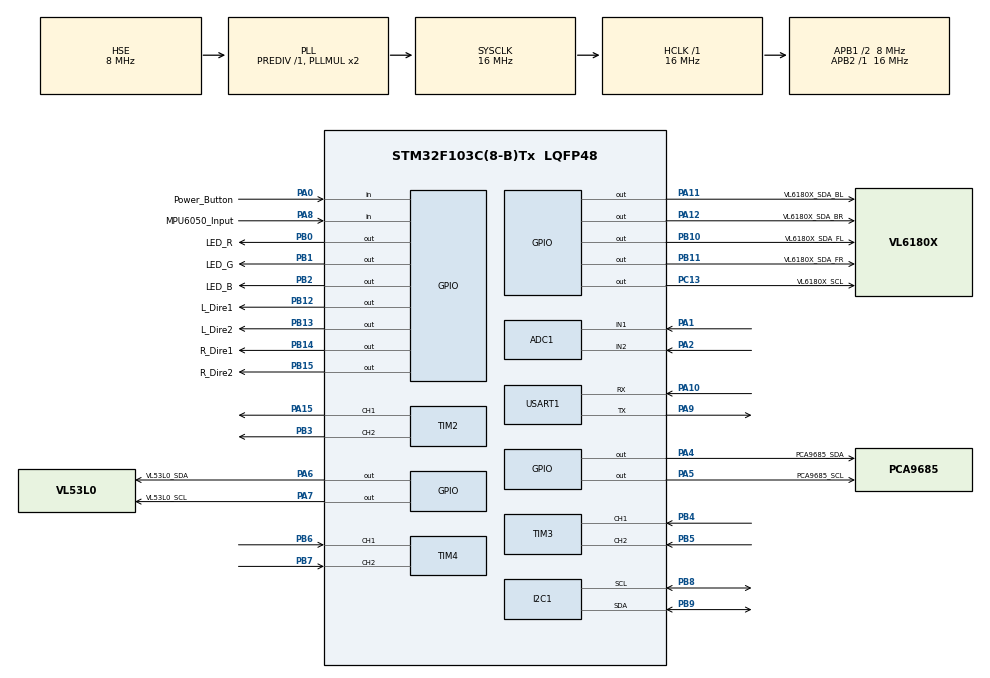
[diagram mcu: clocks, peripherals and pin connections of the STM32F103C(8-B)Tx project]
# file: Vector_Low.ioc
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ADC1.Channel-0\#ChannelRegularConversion=ADC_CHANNEL_1
ADC1.NbrOfConversionFlag=1
ADC1.Rank-0\#ChannelRegularConversion=1
ADC1.SamplingTime-0\#ChannelRegularConversion=ADC_SAMPLETIME_1CYCLE_5
ADC1.master=1
FREERTOS.BinarySemaphores01=BinarySemUpdate,Dynamic,NULL
FREERTOS.Queues01=QueueLeftWheelSpeed,3,uint32_t,0,Dynamic,NULL,NULL;QueueRightWheelSpeed,3,uint32_t,0,Dynamic,NULL,NULL;QueueLeftEncoder,3,uint32_t,0,Dynamic,NULL,NULL;QueueRightEncoder,3,uint32_t,0,Dynamic,NULL,NULL;QueueMPU6050,3,uint32_t,0,Dynamic,NULL,NULL;QueueVL53L0,3,uint32_t,0,Dynamic,NULL,NULL;QueueVL6180X,3,uint32_t,0,Dynamic,NULL,NULL;QueueTouch,3,uint32_t,0,Dynamic,NULL,NULL;QueueGoHome,3,uint32_t,0,Dynamic,NULL,NULL;QueueLeftWheelDire,3,uint32_t,0,Dynamic,NULL,NULL;QueueRightWheelDire,3,uint32_t,0,Dynamic,NULL,NULL;QueuePowerButton,3,uint32_t,0,Dynamic,NULL,NULL;QueueRgbLed,3,uint32_t,0,Dynamic,NULL,NULL
FREERTOS.Tasks01=defaultTask,24,64,StartDefaultTask,Default,NULL,Dynamic,NULL,NULL;TaskLeftWheelSpeed,32,64,StartTaskLeftWheelSpeed,Default,NULL,Dynamic,NULL,NULL;TaskRightWheelSpeed,24,64,StartTaskRightWheelSpeed,Default,NULL,Dynamic,NULL,NULL;TaskLeftEncoder,16,64,StartTaskLeftEncoder,Default,NULL,Dynamic,NULL,NULL;TaskRightEncoder,16,64,StartTaskRightEncoder,Default,NULL,Dynamic,NULL,NULL;TaskMPU6050,16,64,StartTaskMPU6050,Default,NULL,Dynamic,NULL,NULL;TaskVL53L0,24,64,StartTaskVL53L0,Default,NULL,Dynamic,NULL,NULL;TaskVL6180X,24,64,StartTaskVL6180X,Default,NULL,Dynamic,NULL,NULL;TaskTouch,16,64,StartTaskTouch,Default,NULL,Dynamic,NULL,NULL;TaskGoHome,16,64,StartTaskGoHome,Default,NULL,Dynamic,NULL,NULL;TaskUpdate,40,64,StartTaskUpdate,Default,NULL,Dynamic,NULL,NULL;TaskUsartDate,32,64,StartTaskUsartDate,Default,NULL,Dynamic,NULL,NULL;TaskLeftWheelDire,16,64,StartTaskLeftWheelDire,Default,NULL,Dynamic,NULL,NULL;TaskRightWheelDire,16,64,StartTaskRightWheelDire,Default,NULL,Dynamic,NULL,NULL;TaskPowerButton,16,64,StartTaskPowerButton,Default,NULL,Dynamic,NULL,NULL;TaskRgbLed,16,64,StartTaskRgbLed,Default,NULL,Dynamic,NULL,NULL
FREERTOS.configMAX_TASK_NAME_LEN=24
FREERTOS.configMINIMAL_STACK_SIZE=64
FREERTOS.configTOTAL_HEAP_SIZE=10240
Mcu.Family=STM32F1
Mcu.Name=STM32F103C(8-B)Tx
Mcu.Package=LQFP48
NVIC.PriorityGroup=NVIC_PRIORITYGROUP_4
NVIC.TIM1_UP_IRQn=true\:0\:0\:false\:false\:true\:false\:false\:true
NVIC.TimeBase=TIM1_UP_IRQn
NVIC.TimeBaseIP=TIM1
PA0-WKUP.GPIO_Label=Power_Button
PA0-WKUP.Signal=GPIO_Input
PA1.Signal=ADCx_IN1
PA10.Mode=Asynchronous
PA10.Signal=USART1_RX
PA11.GPIO_Label=VL6180X_SDA_BL
PA11.Signal=GPIO_Output
PA12.GPIO_Label=VL6180X_SDA_BR
PA12.Signal=GPIO_Output
PA13.Mode=Serial_Wire
PA13.Signal=SYS_JTMS-SWDIO
PA14.Mode=Serial_Wire
PA14.Signal=SYS_JTCK-SWCLK
PA15.Signal=S_TIM2_CH1_ETR
PA2.Signal=ADCx_IN2
PA4.GPIO_Label=PCA9685_SDA
PA4.Signal=GPIO_Output
PA5.GPIO_Label=PCA9685_SCL
PA5.Signal=GPIO_Output
PA6.GPIO_Label=VL53L0_SDA
PA6.Signal=GPIO_Output
PA7.GPIO_Label=VL53L0_SCL
PA7.Signal=GPIO_Output
PA8.GPIO_Label=MPU6050_Input
PA8.Signal=GPIO_Input
PA9.Mode=Asynchronous
PA9.Signal=USART1_TX
PB0.GPIO_Label=LED_R
PB0.Signal=GPIO_Output
PB1.GPIO_Label=LED_G
PB1.Signal=GPIO_Output
PB10.GPIO_Label=VL6180X_SDA_FL
PB10.Signal=GPIO_Output
PB11.GPIO_Label=VL6180X_SDA_FR
PB11.Signal=GPIO_Output
PB12.GPIO_Label=L_Dire1
PB12.Signal=GPIO_Output
PB13.GPIO_Label=L_Dire2
PB13.Signal=GPIO_Output
PB14.GPIO_Label=R_Dire1
PB14.Signal=GPIO_Output
PB15.GPIO_Label=R_Dire2
PB15.Signal=GPIO_Output
PB2.GPIO_Label=LED_B
PB2.Signal=GPIO_Output
PB3.Signal=S_TIM2_CH2
PB4.Signal=S_TIM3_CH1
PB5.Signal=S_TIM3_CH2
PB6.Signal=S_TIM4_CH1
PB7.Signal=S_TIM4_CH2
PB8.Mode=I2C
PB8.Signal=I2C1_SCL
PB9.Mode=I2C
PB9.Signal=I2C1_SDA
PC13-TAMPER-RTC.GPIO_Label=VL6180X_SCL
PC13-TAMPER-RTC.Signal=GPIO_Output
PC14-OSC32_IN.Mode=LSE-External-Oscillator
PC14-OSC32_IN.Signal=RCC_OSC32_IN
PC15-OSC32_OUT.Mode=LSE-External-Oscillator
PC15-OSC32_OUT.Signal=RCC_OSC32_OUT
PD0-OSC_IN.Mode=HSE-External-Oscillator
PD0-OSC_IN.Signal=RCC_OSC_IN
PD1-OSC_OUT.Mode=HSE-External-Oscillator
PD1-OSC_OUT.Signal=RCC_OSC_OUT
ProjectManager.HeapSize=0x200
ProjectManager.StackSize=0x400
ProjectManager.TargetToolchain=STM32CubeIDE
RCC.AHBFreq_Value=16000000
RCC.APB1CLKDivider=RCC_HCLK_DIV2
RCC.APB1Freq_Value=8000000
RCC.APB1TimFreq_Value=16000000
RCC.APB2Freq_Value=16000000
RCC.APB2TimFreq_Value=16000000
RCC.EnbaleCSS=true
RCC.HCLKFreq_Value=16000000
RCC.PLLSourceVirtual=RCC_PLLSOURCE_HSE
RCC.SYSCLKFreq_VALUE=16000000
RCC.SYSCLKSource=RCC_SYSCLKSOURCE_PLLCLK
RCC.USBFreq_Value=16000000
SH.ADCx_IN1.0=ADC1_IN1,IN1
SH.ADCx_IN2.0=ADC1_IN2,IN2
SH.S_TIM2_CH1_ETR.0=TIM2_CH1,PWM Generation1 CH1
SH.S_TIM2_CH2.0=TIM2_CH2,PWM Generation2 CH2
SH.S_TIM3_CH1.0=TIM3_CH1,Encoder_Interface
SH.S_TIM3_CH2.0=TIM3_CH2,Encoder_Interface
SH.S_TIM4_CH1.0=TIM4_CH1,Encoder_Interface
SH.S_TIM4_CH2.0=TIM4_CH2,Encoder_Interface
TIM2.Channel-PWM\ Generation1\ CH1=TIM_CHANNEL_1
TIM2.Channel-PWM\ Generation2\ CH2=TIM_CHANNEL_2
USART1.VirtualMode=VM_ASYNC
VP_CRC_VS_CRC.Mode=CRC_Activate
VP_FREERTOS_VS_CMSIS_V2.Mode=CMSIS_V2
VP_SYS_VS_tim1.Mode=TIM1
VP_TIM2_VS_ClockSourceINT.Mode=Internal
board=custom

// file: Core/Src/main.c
/* USER CODE BEGIN Header */
/**
  ******************************************************************************
  * @file           : main.c
  * @brief          : Main program body
  ******************************************************************************
  * @attention
  *
  * <h2><center>&copy; Copyright (c) 2020 STMicroelectronics.
  * All rights reserved.</center></h2>
  *
  * This software component is licensed by ST under BSD 3-Clause license,
  * the "License"; You may not use this file except in compliance with the
  * License. You may obtain a copy of the License at:
  *                        opensource.org/licenses/BSD-3-Clause
  *
  ******************************************************************************
  */
/* USER CODE END Header */
#include "main.h"
#include "cmsis_os.h"
#include "adc.h"
#include "crc.h"
#include "i2c.h"
#include "tim.h"
#include "usart.h"
#include "gpio.h"

void SystemClock_Config(void);
void MX_FREERTOS_Init(void);

int main(void)
{

  /* MCU Configuration--------------------------------------------------------*/

  /* Reset of all peripherals, Initializes the Flash interface and the Systick. */
  HAL_Init();

  /* Configure the system clock */
  SystemClock_Config();

  /* Initialize all configured peripherals */
  MX_GPIO_Init();
  MX_ADC1_Init();
  MX_CRC_Init();
  MX_I2C1_Init();
  MX_TIM2_Init();
  MX_TIM3_Init();
  MX_TIM4_Init();
  MX_USART1_UART_Init();

  /* Init scheduler */
  osKernelInitialize();  /* Call init function for freertos objects (in freertos.c) */
  MX_FREERTOS_Init();
  /* Start scheduler */
  osKernelStart();

  /* We should never get here as control is now taken by the scheduler */
  /* Infinite loop */
  while (1)
  {

  }
}

void SystemClock_Config(void)
{
  RCC_OscInitTypeDef RCC_OscInitStruct = {0};
  RCC_ClkInitTypeDef RCC_ClkInitStruct = {0};
  RCC_PeriphCLKInitTypeDef PeriphClkInit = {0};

  /** Initializes the RCC Oscillators according to the specified parameters
  * in the RCC_OscInitTypeDef structure.
  */
  RCC_OscInitStruct.OscillatorType = RCC_OSCILLATORTYPE_HSE;
  RCC_OscInitStruct.HSEState = RCC_HSE_ON;
  RCC_OscInitStruct.HSEPredivValue = RCC_HSE_PREDIV_DIV1;
  RCC_OscInitStruct.HSIState = RCC_HSI_ON;
  RCC_OscInitStruct.PLL.PLLState = RCC_PLL_ON;
  RCC_OscInitStruct.PLL.PLLSource = RCC_PLLSOURCE_HSE;
  RCC_OscInitStruct.PLL.PLLMUL = RCC_PLL_MUL2;
  if (HAL_RCC_OscConfig(&RCC_OscInitStruct) != HAL_OK)
  {
    Error_Handler();
  }
  /** Initializes the CPU, AHB and APB buses clocks
  */
  RCC_ClkInitStruct.ClockType = RCC_CLOCKTYPE_HCLK|RCC_CLOCKTYPE_SYSCLK
                              |RCC_CLOCKTYPE_PCLK1|RCC_CLOCKTYPE_PCLK2;
  RCC_ClkInitStruct.SYSCLKSource = RCC_SYSCLKSOURCE_PLLCLK;
  RCC_ClkInitStruct.AHBCLKDivider = RCC_SYSCLK_DIV1;
  RCC_ClkInitStruct.APB1CLKDivider = RCC_HCLK_DIV2;
  RCC_ClkInitStruct.APB2CLKDivider = RCC_HCLK_DIV1;

  if (HAL_RCC_ClockConfig(&RCC_ClkInitStruct, FLASH_LATENCY_0) != HAL_OK)
  {
    Error_Handler();
  }
  PeriphClkInit.PeriphClockSelection = RCC_PERIPHCLK_ADC;
  PeriphClkInit.AdcClockSelection = RCC_ADCPCLK2_DIV2;
  if (HAL_RCCEx_PeriphCLKConfig(&PeriphClkInit) != HAL_OK)
  {
    Error_Handler();
  }
  /** Enables the Clock Security System
  */
  HAL_RCC_EnableCSS();
}

void HAL_TIM_PeriodElapsedCallback(TIM_HandleTypeDef *htim)
{
  if (htim->Instance == TIM1) {
    HAL_IncTick();
  }
}

void Error_Handler(void)
{
}

/************************ (C) COPYRIGHT STMicroelectronics *****END OF FILE****/

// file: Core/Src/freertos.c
/* USER CODE BEGIN Header */
/**
  ******************************************************************************
  * File Name          : freertos.c
  * Description        : Code for freertos applications
  ******************************************************************************
  * @attention
  *
  * <h2><center>&copy; Copyright (c) 2020 STMicroelectronics.
  * All rights reserved.</center></h2>
  *
  * This software component is licensed by ST under Ultimate Liberty license
  * SLA0044, the "License"; You may not use this file except in compliance with
  * the License. You may obtain a copy of the License at:
  *                             www.st.com/SLA0044
  *
  ******************************************************************************
  */
/* USER CODE END Header */

#include "FreeRTOS.h"
#include "task.h"
#include "main.h"
#include "cmsis_os.h"

/* Definitions for defaultTask */
osThreadId_t defaultTaskHandle;
const osThreadAttr_t defaultTask_attributes = {
  .name = "defaultTask",
  .priority = (osPriority_t) osPriorityNormal,
  .stack_size = 64 * 4
};
/* Definitions for TaskLeftWheelSpeed */
osThreadId_t TaskLeftWheelSpeedHandle;
const osThreadAttr_t TaskLeftWheelSpeed_attributes = {
  .name = "TaskLeftWheelSpeed",
  .priority = (osPriority_t) osPriorityAboveNormal,
  .stack_size = 64 * 4
};
/* Definitions for TaskRightWheelSpeed */
osThreadId_t TaskRightWheelSpeedHandle;
const osThreadAttr_t TaskRightWheelSpeed_attributes = {
  .name = "TaskRightWheelSpeed",
  .priority = (osPriority_t) osPriorityNormal,
  .stack_size = 64 * 4
};
/* Definitions for TaskLeftEncoder */
osThreadId_t TaskLeftEncoderHandle;
const osThreadAttr_t TaskLeftEncoder_attributes = {
  .name = "TaskLeftEncoder",
  .priority = (osPriority_t) osPriorityBelowNormal,
  .stack_size = 64 * 4
};
/* Definitions for TaskRightEncoder */
osThreadId_t TaskRightEncoderHandle;
const osThreadAttr_t TaskRightEncoder_attributes = {
  .name = "TaskRightEncoder",
  .priority = (osPriority_t) osPriorityBelowNormal,
  .stack_size = 64 * 4
};
/* Definitions for TaskMPU6050 */
osThreadId_t TaskMPU6050Handle;
const osThreadAttr_t TaskMPU6050_attributes = {
  .name = "TaskMPU6050",
  .priority = (osPriority_t) osPriorityBelowNormal,
  .stack_size = 64 * 4
};
/* Definitions for TaskVL53L0 */
osThreadId_t TaskVL53L0Handle;
const osThreadAttr_t TaskVL53L0_attributes = {
  .name = "TaskVL53L0",
  .priority = (osPriority_t) osPriorityNormal,
  .stack_size = 64 * 4
};
/* Definitions for TaskVL6180X */
osThreadId_t TaskVL6180XHandle;
const osThreadAttr_t TaskVL6180X_attributes = {
  .name = "TaskVL6180X",
  .priority = (osPriority_t) osPriorityNormal,
  .stack_size = 64 * 4
};
/* Definitions for TaskTouch */
osThreadId_t TaskTouchHandle;
const osThreadAttr_t TaskTouch_attributes = {
  .name = "TaskTouch",
  .priority = (osPriority_t) osPriorityBelowNormal,
  .stack_size = 64 * 4
};
/* Definitions for TaskGoHome */
osThreadId_t TaskGoHomeHandle;
const osThreadAttr_t TaskGoHome_attributes = {
  .name = "TaskGoHome",
  .priority = (osPriority_t) osPriorityBelowNormal,
  .stack_size = 64 * 4
};
/* Definitions for TaskUpdate */
osThreadId_t TaskUpdateHandle;
const osThreadAttr_t TaskUpdate_attributes = {
  .name = "TaskUpdate",
  .priority = (osPriority_t) osPriorityHigh,
  .stack_size = 64 * 4
};
/* Definitions for TaskUsartDate */
osThreadId_t TaskUsartDateHandle;
const osThreadAttr_t TaskUsartDate_attributes = {
  .name = "TaskUsartDate",
  .priority = (osPriority_t) osPriorityAboveNormal,
  .stack_size = 64 * 4
};
/* Definitions for TaskLeftWheelDire */
osThreadId_t TaskLeftWheelDireHandle;
const osThreadAttr_t TaskLeftWheelDire_attributes = {
  .name = "TaskLeftWheelDire",
  .priority = (osPriority_t) osPriorityBelowNormal,
  .stack_size = 64 * 4
};
/* Definitions for TaskRightWheelDire */
osThreadId_t TaskRightWheelDireHandle;
const osThreadAttr_t TaskRightWheelDire_attributes = {
  .name = "TaskRightWheelDire",
  .priority = (osPriority_t) osPriorityBelowNormal,
  .stack_size = 64 * 4
};
/* Definitions for TaskPowerButton */
osThreadId_t TaskPowerButtonHandle;
const osThreadAttr_t TaskPowerButton_attributes = {
  .name = "TaskPowerButton",
  .priority = (osPriority_t) osPriorityBelowNormal,
  .stack_size = 64 * 4
};
/* Definitions for TaskRgbLed */
osThreadId_t TaskRgbLedHandle;
const osThreadAttr_t TaskRgbLed_attributes = {
  .name = "TaskRgbLed",
  .priority = (osPriority_t) osPriorityBelowNormal,
  .stack_size = 64 * 4
};
/* Definitions for QueueLeftWheelSpeed */
osMessageQueueId_t QueueLeftWheelSpeedHandle;
const osMessageQueueAttr_t QueueLeftWheelSpeed_attributes = {
  .name = "QueueLeftWheelSpeed"
};
/* Definitions for QueueRightWheelSpeed */
osMessageQueueId_t QueueRightWheelSpeedHandle;
const osMessageQueueAttr_t QueueRightWheelSpeed_attributes = {
  .name = "QueueRightWheelSpeed"
};
/* Definitions for QueueLeftEncoder */
osMessageQueueId_t QueueLeftEncoderHandle;
const osMessageQueueAttr_t QueueLeftEncoder_attributes = {
  .name = "QueueLeftEncoder"
};
/* Definitions for QueueRightEncoder */
osMessageQueueId_t QueueRightEncoderHandle;
const osMessageQueueAttr_t QueueRightEncoder_attributes = {
  .name = "QueueRightEncoder"
};
/* Definitions for QueueMPU6050 */
osMessageQueueId_t QueueMPU6050Handle;
const osMessageQueueAttr_t QueueMPU6050_attributes = {
  .name = "QueueMPU6050"
};
/* Definitions for QueueVL53L0 */
osMessageQueueId_t QueueVL53L0Handle;
const osMessageQueueAttr_t QueueVL53L0_attributes = {
  .name = "QueueVL53L0"
};
/* Definitions for QueueVL6180X */
osMessageQueueId_t QueueVL6180XHandle;
const osMessageQueueAttr_t QueueVL6180X_attributes = {
  .name = "QueueVL6180X"
};
/* Definitions for QueueTouch */
osMessageQueueId_t QueueTouchHandle;
const osMessageQueueAttr_t QueueTouch_attributes = {
  .name = "QueueTouch"
};
/* Definitions for QueueGoHome */
osMessageQueueId_t QueueGoHomeHandle;
const osMessageQueueAttr_t QueueGoHome_attributes = {
  .name = "QueueGoHome"
};
/* Definitions for QueueLeftWheelDire */
osMessageQueueId_t QueueLeftWheelDireHandle;
const osMessageQueueAttr_t QueueLeftWheelDire_attributes = {
  .name = "QueueLeftWheelDire"
};
/* Definitions for QueueRightWheelDire */
osMessageQueueId_t QueueRightWheelDireHandle;
const osMessageQueueAttr_t QueueRightWheelDire_attributes = {
  .name = "QueueRightWheelDire"
};
/* Definitions for QueuePowerButton */
osMessageQueueId_t QueuePowerButtonHandle;
const osMessageQueueAttr_t QueuePowerButton_attributes = {
  .name = "QueuePowerButton"
};
/* Definitions for QueueRgbLed */
osMessageQueueId_t QueueRgbLedHandle;
const osMessageQueueAttr_t QueueRgbLed_attributes = {
  .name = "QueueRgbLed"
};
/* Definitions for BinarySemUpdate */
osSemaphoreId_t BinarySemUpdateHandle;
const osSemaphoreAttr_t BinarySemUpdate_attributes = {
  .name = "BinarySemUpdate"
};

void StartDefaultTask(void *argument);
void StartTaskLeftWheelSpeed(void *argument);
void StartTaskRightWheelSpeed(void *argument);
void StartTaskLeftEncoder(void *argument);
void StartTaskRightEncoder(void *argument);
void StartTaskMPU6050(void *argument);
void StartTaskVL53L0(void *argument);
void StartTaskVL6180X(void *argument);
void StartTaskTouch(void *argument);
void StartTaskGoHome(void *argument);
void StartTaskUpdate(void *argument);
void StartTaskUsartDate(void *argument);
void StartTaskLeftWheelDire(void *argument);
void StartTaskRightWheelDire(void *argument);
void StartTaskPowerButton(void *argument);
void StartTaskRgbLed(void *argument);

void MX_FREERTOS_Init(void); /* (MISRA C 2004 rule 8.1) */

void MX_FREERTOS_Init(void) {

  /* Create the semaphores(s) */
  /* creation of BinarySemUpdate */
  BinarySemUpdateHandle = osSemaphoreNew(1, 1, &BinarySemUpdate_attributes);

  /* Create the queue(s) */
  /* creation of QueueLeftWheelSpeed */
  QueueLeftWheelSpeedHandle = osMessageQueueNew (3, sizeof(uint32_t), &QueueLeftWheelSpeed_attributes);

  /* creation of QueueRightWheelSpeed */
  QueueRightWheelSpeedHandle = osMessageQueueNew (3, sizeof(uint32_t), &QueueRightWheelSpeed_attributes);

  /* creation of QueueLeftEncoder */
  QueueLeftEncoderHandle = osMessageQueueNew (3, sizeof(uint32_t), &QueueLeftEncoder_attributes);

  /* creation of QueueRightEncoder */
  QueueRightEncoderHandle = osMessageQueueNew (3, sizeof(uint32_t), &QueueRightEncoder_attributes);

  /* creation of QueueMPU6050 */
  QueueMPU6050Handle = osMessageQueueNew (3, sizeof(uint32_t), &QueueMPU6050_attributes);

  /* creation of QueueVL53L0 */
  QueueVL53L0Handle = osMessageQueueNew (3, sizeof(uint32_t), &QueueVL53L0_attributes);

  /* creation of QueueVL6180X */
  QueueVL6180XHandle = osMessageQueueNew (3, sizeof(uint32_t), &QueueVL6180X_attributes);

  /* creation of QueueTouch */
  QueueTouchHandle = osMessageQueueNew (3, sizeof(uint32_t), &QueueTouch_attributes);

  /* creation of QueueGoHome */
  QueueGoHomeHandle = osMessageQueueNew (3, sizeof(uint32_t), &QueueGoHome_attributes);

  /* creation of QueueLeftWheelDire */
  QueueLeftWheelDireHandle = osMessageQueueNew (3, sizeof(uint32_t), &QueueLeftWheelDire_attributes);

  /* creation of QueueRightWheelDire */
  QueueRightWheelDireHandle = osMessageQueueNew (3, sizeof(uint32_t), &QueueRightWheelDire_attributes);

  /* creation of QueuePowerButton */
  QueuePowerButtonHandle = osMessageQueueNew (3, sizeof(uint32_t), &QueuePowerButton_attributes);

  /* creation of QueueRgbLed */
  QueueRgbLedHandle = osMessageQueueNew (3, sizeof(uint32_t), &QueueRgbLed_attributes);

  /* Create the thread(s) */
  /* creation of defaultTask */
  defaultTaskHandle = osThreadNew(StartDefaultTask, NULL, &defaultTask_attributes);

  /* creation of TaskLeftWheelSpeed */
  TaskLeftWheelSpeedHandle = osThreadNew(StartTaskLeftWheelSpeed, NULL, &TaskLeftWheelSpeed_attributes);

  /* creation of TaskRightWheelSpeed */
  TaskRightWheelSpeedHandle = osThreadNew(StartTaskRightWheelSpeed, NULL, &TaskRightWheelSpeed_attributes);

  /* creation of TaskLeftEncoder */
  TaskLeftEncoderHandle = osThreadNew(StartTaskLeftEncoder, NULL, &TaskLeftEncoder_attributes);

  /* creation of TaskRightEncoder */
  TaskRightEncoderHandle = osThreadNew(StartTaskRightEncoder, NULL, &TaskRightEncoder_attributes);

  /* creation of TaskMPU6050 */
  TaskMPU6050Handle = osThreadNew(StartTaskMPU6050, NULL, &TaskMPU6050_attributes);

  /* creation of TaskVL53L0 */
  TaskVL53L0Handle = osThreadNew(StartTaskVL53L0, NULL, &TaskVL53L0_attributes);

  /* creation of TaskVL6180X */
  TaskVL6180XHandle = osThreadNew(StartTaskVL6180X, NULL, &TaskVL6180X_attributes);

  /* creation of TaskTouch */
  TaskTouchHandle = osThreadNew(StartTaskTouch, NULL, &TaskTouch_attributes);

  /* creation of TaskGoHome */
  TaskGoHomeHandle = osThreadNew(StartTaskGoHome, NULL, &TaskGoHome_attributes);

  /* creation of TaskUpdate */
  TaskUpdateHandle = osThreadNew(StartTaskUpdate, NULL, &TaskUpdate_attributes);

  /* creation of TaskUsartDate */
  TaskUsartDateHandle = osThreadNew(StartTaskUsartDate, NULL, &TaskUsartDate_attributes);

  /* creation of TaskLeftWheelDire */
  TaskLeftWheelDireHandle = osThreadNew(StartTaskLeftWheelDire, NULL, &TaskLeftWheelDire_attributes);

  /* creation of TaskRightWheelDire */
  TaskRightWheelDireHandle = osThreadNew(StartTaskRightWheelDire, NULL, &TaskRightWheelDire_attributes);

  /* creation of TaskPowerButton */
  TaskPowerButtonHandle = osThreadNew(StartTaskPowerButton, NULL, &TaskPowerButton_attributes);

  /* creation of TaskRgbLed */
  TaskRgbLedHandle = osThreadNew(StartTaskRgbLed, NULL, &TaskRgbLed_attributes);

}

void StartDefaultTask(void *argument)
{
  /* USER CODE BEGIN StartDefaultTask */
  osStatus_t status;
  Encoder_t *Encoder=NULL;
  Button_t *Button=NULL;
  /* Infinite loop */
  for(;;)
  {
#if 1
    Left_Wheel.speed=10;
    status=osMessageQueuePut(QueueLeftWheelSpeedHandle,&Left_Wheel,0,osWaitForever);
    if (status == osOK)
    {

    }

    Right_Wheel.speed=10;
    status=osMessageQueuePut(QueueRightWheelSpeedHandle,&Right_Wheel,0,osWaitForever);
    if (status == osOK)
    {

    }

    status=osMessageQueueGet(QueueLeftEncoderHandle,(void *)Encoder,NULL,0);
    if (status == osOK)
    {
      // ?=Encoder->number;
      // ?=Encoder->dire;
    }

    status=osMessageQueueGet(QueueRightEncoderHandle,(void *)Encoder,NULL,0);
    if (status == osOK)
    {
      // ?=Encoder->number;
      // ?=Encoder->dire;
    }

    Left_Wheel.dire=FRONT;
    status=osMessageQueuePut(QueueLeftWheelSpeedHandle,&Left_Wheel,0,osWaitForever);
    if (status == osOK)
    {

    }

    Right_Wheel.dire=FRONT;
    status=osMessageQueuePut(QueueLeftWheelSpeedHandle,&Right_Wheel,0,osWaitForever);
    if (status == osOK)
    {

    }

    Led_R.power=ON;
    status=osMessageQueuePut(QueueRgbLedHandle,&Led_R,0,osWaitForever);
    if (status == osOK)
    {

    }

    Led_G.power=ON;
    status=osMessageQueuePut(QueueRgbLedHandle,&Led_G,0,osWaitForever);
    if (status == osOK)
    {

    }

    Led_B.power=ON;
    status=osMessageQueuePut(QueueRgbLedHandle,&Led_B,0,osWaitForever);
    if (status == osOK)
    {

    }

    status=osMessageQueueGet(QueuePowerButtonHandle,(void *)Button,NULL,0);
    if (status == osOK)
    {
      // ?=Button->updown;
    }

    status=osMessageQueueGet(QueueTouchHandle,(void *)Button,NULL,0);
    if (status == osOK)
    {
      // ?=Button->updown;
    }

    status=osMessageQueueGet(QueueGoHomeHandle,(void *)Button,NULL,0);
    if (status == osOK)
    {
      // ?=Button->updown;
    }

    status=osSemaphoreRelease(BinarySemUpdateHandle);
    if (status == osOK)
    {

    }

#endif

    osDelay(1000);

  }
  /* USER CODE END StartDefaultTask */
}

void StartTaskLeftWheelSpeed(void *argument)
{
  /* USER CODE BEGIN StartTaskLeftWheelSpeed */
  osStatus_t status;
  Wheel_t *Wheel=NULL;
  /* Infinite loop */
  for(;;)
  {
    status=osMessageQueueGet(QueueLeftWheelSpeedHandle,(void*)Wheel,NULL,osWaitForever);
    if(status == osOK)
    {
      Wheel->Set_Speed(Wheel->speed);
    }
    //osDelay(1);
  }
  /* USER CODE END StartTaskLeftWheelSpeed */
}

void StartTaskRightWheelSpeed(void *argument)
{
  /* USER CODE BEGIN StartTaskRightWheelSpeed */
  osStatus_t status;
  Wheel_t *Wheel=NULL;
  /* Infinite loop */
  for(;;)
  {
    status=osMessageQueueGet(QueueRightWheelSpeedHandle,(void*)Wheel,NULL,osWaitForever);
    if(status == osOK)
    {
      Wheel->Set_Speed(Wheel->speed);
    }
    // osDelay(1);
  }
  /* USER CODE END StartTaskRightWheelSpeed */
}

void StartTaskLeftEncoder(void *argument)
{
  /* USER CODE BEGIN StartTaskLeftEncoder */
  osStatus_t status;
  /* Infinite loop */
  for(;;)
  {
    osDelayUntil (100);
    Left_Encoder.number=Left_Encoder.Get_number();
    Left_Encoder.Set_number(0);
    status=osMessageQueuePut(QueueLeftEncoderHandle,&Left_Encoder,0,osWaitForever);
    if (status == osOK)
    {

    }
    // osDelay(1);
  }
  /* USER CODE END StartTaskLeftEncoder */
}

void StartTaskRightEncoder(void *argument)
{
  /* USER CODE BEGIN StartTaskRightEncoder */
  osStatus_t status;
  /* Infinite loop */
  for(;;)
  {
    osDelayUntil (100);
    Right_Encoder.number=Right_Encoder.Get_number();
    Right_Encoder.Set_number(0);
    status=osMessageQueuePut(QueueRightEncoderHandle,&Right_Encoder,0,osWaitForever);
    if (status == osOK)
    {

    }
    // osDelay(1);
  }
  /* USER CODE END StartTaskRightEncoder */
}

void StartTaskMPU6050(void *argument)
{
  for(;;)
  {
    osDelay(1);
  }
}

void StartTaskVL53L0(void *argument)
{
  for(;;)
  {
    osDelay(1);
  }
}

void StartTaskVL6180X(void *argument)
{
  for(;;)
  {
    osDelay(1);
  }
}

void StartTaskTouch(void *argument)
{
  /* USER CODE BEGIN StartTaskTouch */
  osStatus_t status;
  /* Infinite loop */
  for(;;)
  {
    osDelayUntil (100);
    Touch_Button.updown=Touch_Button.Get_updown();
    status=osMessageQueuePut(QueueTouchHandle,&Touch_Button,0,osWaitForever);
    if (status == osOK)
    {

    }
    //osDelay(1);
  }
  /* USER CODE END StartTaskTouch */
}

void StartTaskGoHome(void *argument)
{
  /* USER CODE BEGIN StartTaskGoHome */
  osStatus_t status;
  /* Infinite loop */
  for(;;)
  {
    osDelayUntil (100);
    GoHome_Button.updown=GoHome_Button.Get_updown();
    status=osMessageQueuePut(QueueGoHomeHandle,&GoHome_Button,0,osWaitForever);
    if (status == osOK)
    {

    }
    //osDelay(1);
  }
  /* USER CODE END StartTaskGoHome */
}

void StartTaskUpdate(void *argument)
{
  /* USER CODE BEGIN StartTaskUpdate */
  osStatus_t status;
  /* Infinite loop */
  for(;;)
  {
    status=osSemaphoreAcquire(BinarySemUpdateHandle,osWaitForever);
    if (status == osOK)
    {

    }
    // osDelay(1);
  }
  /* USER CODE END StartTaskUpdate */
}

void StartTaskUsartDate(void *argument)
{
  /* USER CODE BEGIN StartTaskUsartDate */
  /* Infinite loop */
  for(;;)
  {
    osDelayUntil (100);

    // osDelay(1);
  }
  /* USER CODE END StartTaskUsartDate */
}

void StartTaskLeftWheelDire(void *argument)
{
  /* USER CODE BEGIN StartTaskLeftWheelDire */
  osStatus_t status;
  Wheel_t *Wheel=NULL;
  /* Infinite loop */
  for(;;)
  {
    status=osMessageQueueGet(QueueLeftWheelDireHandle,(void*)Wheel,NULL,osWaitForever);
    if(status == osOK)
    {
      Wheel->Set_Dire(Wheel->dire);
    }
    //osDelay(1);
  }
  /* USER CODE END StartTaskLeftWheelDire */
}

void StartTaskRightWheelDire(void *argument)
{
  /* USER CODE BEGIN StartTaskRightWheelDire */
  osStatus_t status;
  Wheel_t *Wheel=NULL;
  /* Infinite loop */
  for(;;)
  {
    status=osMessageQueueGet(QueueRightWheelDireHandle,(void*)Wheel,NULL,osWaitForever);
    if(status == osOK)
    {
      Wheel->Set_Dire(Wheel->dire);
    }
    //osDelay(1);
  }
  /* USER CODE END StartTaskRightWheelDire */
}

void StartTaskPowerButton(void *argument)
{
  /* USER CODE BEGIN StartTaskPowerButton */
  osStatus_t status;
  /* Infinite loop */
  for(;;)
  {
    osDelayUntil (100);
    Power_Button.updown=Power_Button.Get_updown();
    status=osMessageQueuePut(QueuePowerButtonHandle,&Power_Button,0,osWaitForever);
    if (status == osOK)
    {

    }
    //osDelay(1);
  }
  /* USER CODE END StartTaskPowerButton */
}

void StartTaskRgbLed(void *argument)
{
  /* USER CODE BEGIN StartTaskRgbLed */
  osStatus_t status;
  Led_t *Led=NULL;
  /* Infinite loop */
  for(;;)
  {
    status=osMessageQueueGet(QueueRgbLedHandle,(void*)Led,NULL,osWaitForever);
    if(status == osOK)
    {
      Led->Set_Power(Led->power);
    }
    //osDelay(1);
  }
  /* USER CODE END StartTaskRgbLed */
}

/************************ (C) COPYRIGHT STMicroelectronics *****END OF FILE****/
